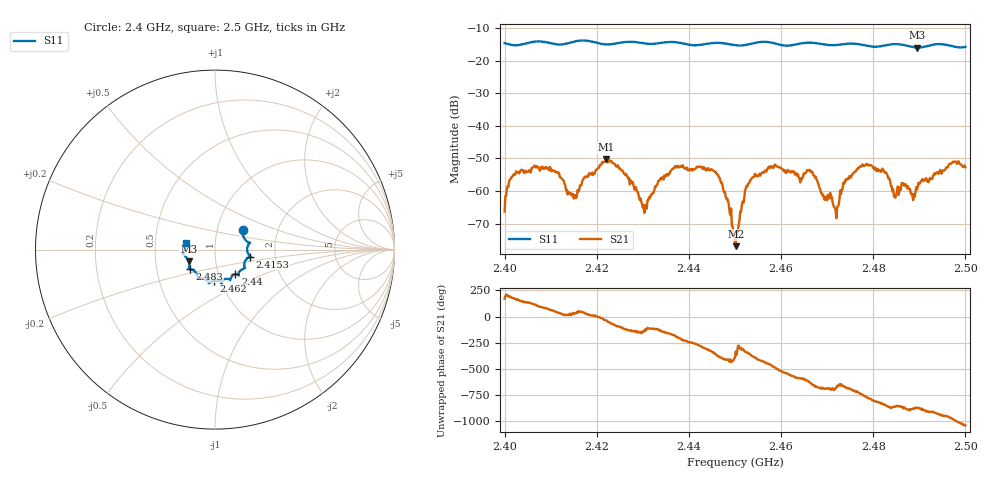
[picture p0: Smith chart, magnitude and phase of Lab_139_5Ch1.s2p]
# Hz S RI R 50
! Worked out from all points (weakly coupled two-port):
!   601 points, 2.4 GHz to 2.5 GHz, reference 50 ohm
!   highest |S21| = -50.26 dB at 2.422 GHz (marker M1); lowest = -77.0 dB at 2.4502 GHz (marker M2)
!   lowest |S11| = -15.9 dB at 2.4895 GHz (marker M3), VSWR 1.38, Z = 36.9 - j4.99 ohm
!   |S11| at or under -10 dB: start of sweep to end of sweep
!   S12 and S22 are empty: the file has one direction only
!   S11 on the Smith chart (normalised r, x): 2.4 GHz: 1.33, +0.29; 2.4153 GHz: 1.48, -0.12; 2.44 GHz: 1.20, -0.34; 2.462 GHz: 0.93, -0.33; 2.483 GHz: 0.74, -0.17; 2.5 GHz: 0.72, +0.06
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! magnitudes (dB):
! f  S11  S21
! 2.4 GHz  -14.5  -66.3
! 2.4015 GHz  -15.1  -55.7
! 2.4067 GHz  -14.0  -52.4
! 2.4153 GHz  -14.0  -61.2
! 2.4167 GHz  -13.7  -58.2
! 2.422 GHz  -14.9  -50.3
! 2.4303 GHz  -14.6  -66.7
! 2.4333 GHz  -14.6  -57.0
! 2.44 GHz  -15.0  -53.5
! 2.4462 GHz  -14.4  -54.8
! 2.45 GHz  -15.1  -76.1
! 2.4502 GHz  -15.2  -77.0
! 2.4538 GHz  -14.6  -55.8
! 2.462 GHz  -15.2  -54.2
! 2.4667 GHz  -14.4  -54.0
! 2.4718 GHz  -15.1  -65.8
! 2.4772 GHz  -14.9  -52.6
! 2.483 GHz  -15.1  -54.9
! 2.4833 GHz  -15.0  -56.3
! 2.4847 GHz  -14.8  -61.9
! 2.4895 GHz  -15.9  -59.6
! 2.5 GHz  -15.7  -52.7
